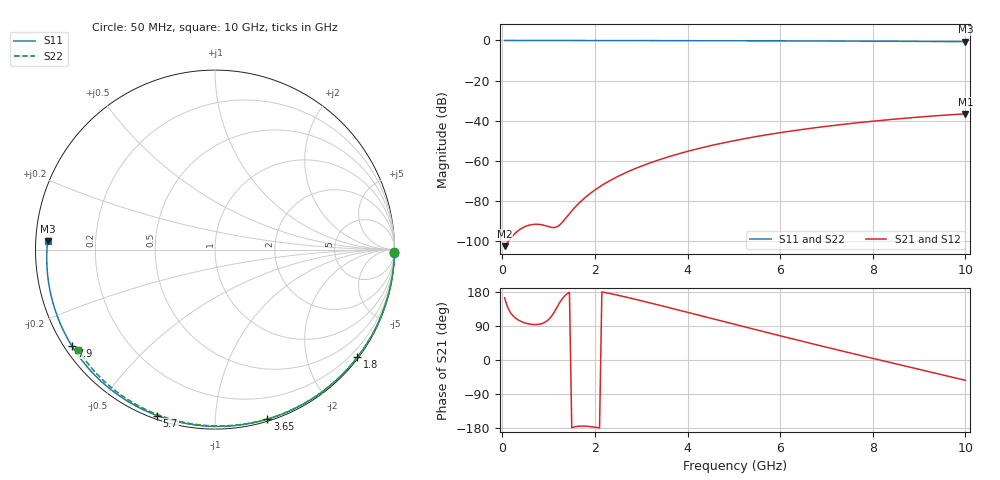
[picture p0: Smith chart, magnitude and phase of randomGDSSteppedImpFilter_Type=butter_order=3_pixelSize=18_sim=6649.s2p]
! freq	dB(S11)	phase(S11)	dB(S12)	phase(S12)
!  dB(S21)	phase(S21)	dB(S22)	phase(S22)
!S-par simulation data
#  GHz  S  DB  R 50
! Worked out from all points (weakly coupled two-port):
!   200 points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, 50 MHz to 10 GHz, reference 50 ohm
!   highest |S21| = -36.65 dB at 10 GHz (marker M1); lowest = -102.7 dB at 50 MHz (marker M2)
!   lowest |S11| = -0.6 dB at 10 GHz (marker M3), VSWR 29.28, Z = 1.71 + j1.3 ohm
!   |S11| at or under -10 dB: nowhere
!   |S22| runs from -0.5 to 0.0 dB; largest |S21 - S12| = 0
!   S11 on the Smith chart (normalised r, x): 50 MHz: open; 1.8 GHz: 0.03, -2.98; 3.65 GHz: 0.02, -1.36; 5.7 GHz: 0.02, -0.71; 7.9 GHz: 0.02, -0.30; 10 GHz: 0.03, +0.03
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0.05  -0.00 -1.1  -102.71 164.4  -102.71 164.4  -0.00 -0.8
0.45  -0.01 -9.4  -93.38 99.5  -93.38 99.5  -0.01 -7.5
0.85  -0.02 -17.7  -92.02 95.8  -92.02 95.8  -0.02 -14.1
1.25  -0.03 -25.9  -91.90 153.7  -91.90 153.7  -0.03 -20.6
1.7  -0.04 -35.1  -80.26 -174.4  -80.26 -174.4  -0.04 -27.9
1.75  -0.05 -36.1  -79.20 -174.4  -79.20 -174.4  -0.04 -28.7
1.8  -0.05 -37.1  -78.21 -174.7  -78.21 -174.7  -0.04 -29.5
2.1  -0.05 -43.1  -73.09 -179.3  -73.09 -179.3  -0.04 -34.3
2.45  -0.06 -50.0  -68.43 172.2  -68.43 172.2  -0.05 -39.9
2.9  -0.08 -58.7  -63.69 159.4  -63.69 159.4  -0.06 -46.9
3.4  -0.09 -68.2  -59.47 144.3  -59.47 144.3  -0.07 -54.6
3.65  -0.10 -72.8  -57.66 136.7  -57.66 136.7  -0.08 -58.4
4.35  -0.12 -85.6  -53.34 114.9  -53.34 114.9  -0.10 -68.8
5.05  -0.15 -98.0  -49.84 93.1  -49.84 93.1  -0.12 -78.8
5.7  -0.18 -109.2  -47.14 73.0  -47.14 73.0  -0.15 -87.9
6.2  -0.21 -117.7  -45.35 57.7  -45.35 57.7  -0.17 -94.7
6.7  -0.25 -126.1  -43.75 42.6  -43.75 42.6  -0.20 -101.4
7.3  -0.29 -136.1  -42.06 24.8  -42.06 24.8  -0.23 -109.3
7.9  -0.35 -146.2  -40.56 7.2  -40.56 7.2  -0.28 -117.1
8.35  -0.39 -153.8  -39.55 -5.8  -39.55 -5.8  -0.32 -122.8
9.2  -0.49 -168.5  -37.89 -30.5  -37.89 -30.5  -0.40 -133.5
10  -0.59 177.0  -36.65 -53.7  -36.65 -53.7  -0.48 -143.6
